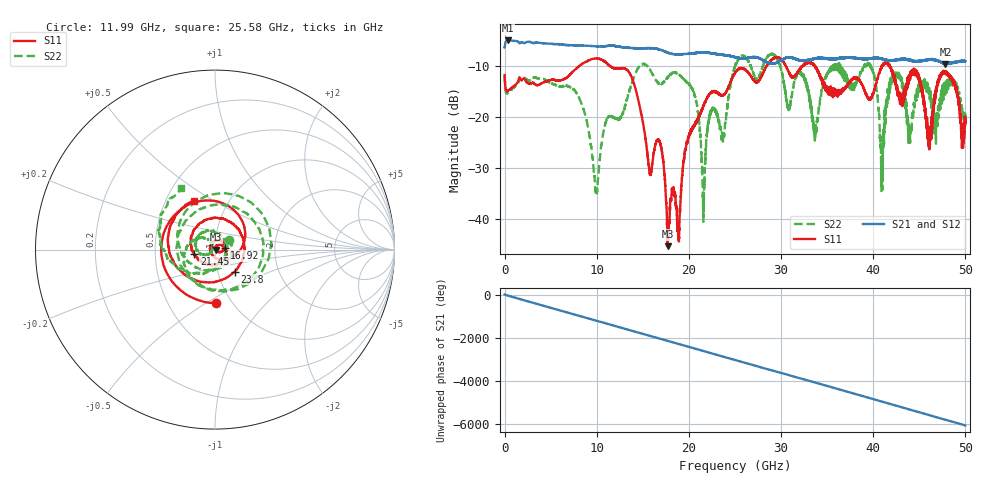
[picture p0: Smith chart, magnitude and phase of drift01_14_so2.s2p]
!Created with skrf (http://scikit-rf.org).
# Hz S RI R 50.0
!freq ReS11 ImS11 ReS21 ImS21 ReS12 ImS12 ReS22 ImS22
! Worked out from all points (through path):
!   10001 points, 300 kHz to 50 GHz, reference 50 ohm
!   highest |S21| = -5.05 dB at 325.3 MHz (marker M1); lowest = -9.7 dB at 47.84 GHz (marker M2)
!   group delay of S21, straight-line fit = 336 ps
!   lowest |S11| = -45.3 dB at 17.69 GHz (marker M3), VSWR 1.01, Z = 50.5 - j0.0898 ohm
!   |S11| at or under -10 dB: start of sweep to 8.147 GHz; 11.4 GHz to 28.44 GHz (17.04 GHz wide, 85.6 % of centre); 41.8 GHz to end of sweep (the widest 3 of 17)
!   |S22| runs from -40.6 to -7.7 dB; largest |S21 - S12| = 0.011
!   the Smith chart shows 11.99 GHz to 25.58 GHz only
!   S11 on the Smith chart (normalised r, x): 11.99 GHz: 0.84, -0.55; 16.92 GHz: 1.11, +0.02; 21.45 GHz: 0.79, -0.04; 23.8 GHz: 1.20, -0.30; 25.58 GHz: 0.69, +0.41
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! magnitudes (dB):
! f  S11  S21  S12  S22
! 300 kHz  -11.8  -6.5  -6.5  -11.8
! 325.3 MHz  -15.0  -5.0  -5.1  -15.4
! 8.335 GHz  -9.7  -6.0  -6.0  -17.4
! 9.935 GHz  -8.6  -6.2  -6.2  -34.6
! 11.99 GHz  -10.6  -6.2  -6.1  -20.4
! 15.77 GHz  -31.0  -6.5  -6.6  -10.8
! 16.67 GHz  -24.5  -6.8  -6.7  -13.4
! 16.92 GHz  -25.3  -6.9  -6.9  -13.5
! 17.69 GHz  -45.3  -7.4  -7.4  -12.3
! 20.5 GHz  -22.0  -7.6  -7.6  -15.1
! 21.45 GHz  -18.6  -7.4  -7.4  -30.9
! 22.47 GHz  -15.2  -7.6  -7.6  -18.9
! 23.8 GHz  -15.7  -7.9  -7.9  -23.4
! 25 GHz  -11.4  -8.3  -8.4  -10.3
! 25.58 GHz  -10.6  -8.6  -8.6  -8.2
! 33.34 GHz  -9.6  -8.7  -8.7  -19.1
! 39.5 GHz  -16.5  -8.7  -8.6  -9.9
! 40.95 GHz  -10.1  -8.7  -8.6  -29.4
! 41.67 GHz  -9.8  -8.9  -9.0  -15.0
! 46.1 GHz  -26.4  -8.8  -8.8  -15.1
! 47.84 GHz  -11.3  -9.7  -9.7  -14.5
! 50 GHz  -21.2  -9.1  -9.2  -20.2
